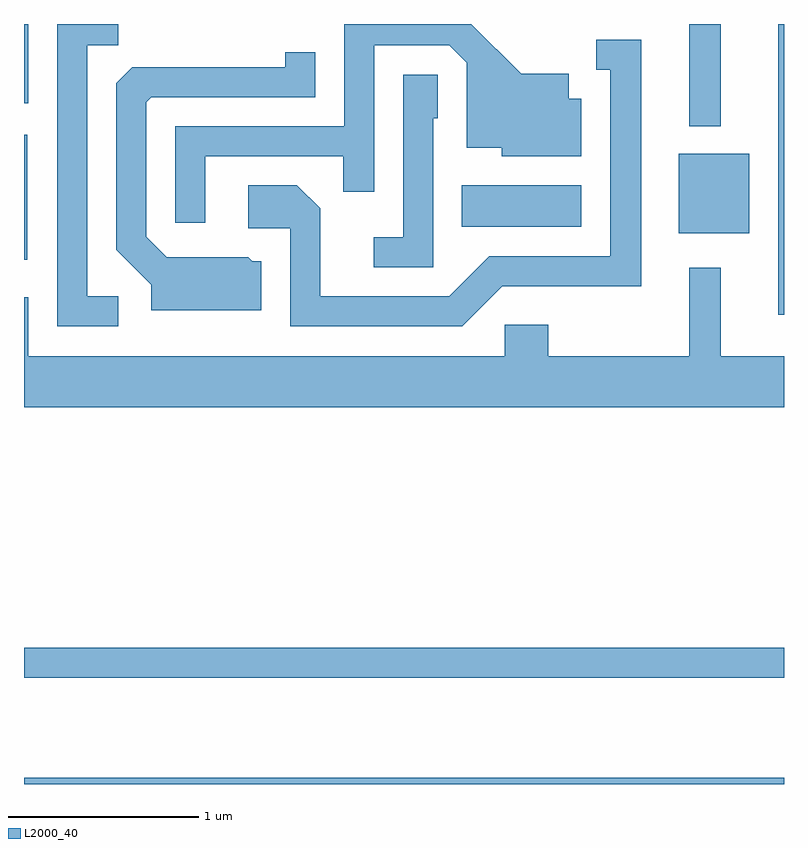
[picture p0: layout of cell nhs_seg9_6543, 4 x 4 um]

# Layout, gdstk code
import gdstk
lib = gdstk.Library(unit=1e-6, precision=1e-09)
def R(c, l, rs):  # rectangles x0, y0, x1, y1
    for r in rs: c.add(gdstk.rectangle(r[:2], r[2:], *l))
def P(c, l, *ps):  # polygons
    for p in ps: c.add(gdstk.Polygon(p, *l))
L2000_40 = (2000, 40)

nhs_seg9_6543 = lib.new_cell('nhs_seg9_6543')
R(nhs_seg9_6543, L2000_40, [(377.611,2056.432,381.611,2056.464), (377.611,2056.991,381.611,2057.149), (381.581,2058.903,381.611,2060.432), (377.611,2059.191,377.629,2059.849), (381.056,2059.331,381.429,2059.749), (379.916,2059.366,380.544,2059.584), (381.111,2059.893,381.279,2060.432), (377.611,2060.016,377.634,2060.432)])
P(nhs_seg9_6543, L2000_40, [(378.108,2058.999),(377.944,2058.999),(377.944,2060.321),(378.108,2060.321),(378.108,2060.432),(377.786,2060.432),(377.786,2058.841),(378.108,2058.841)],
  [(378.564,2059.736),(379.291,2059.736),(379.291,2059.548),(379.454,2059.548),(379.454,2060.321),(379.849,2060.321),(379.941,2060.229),(379.941,2059.781),(380.126,2059.781),(380.126,2059.736),(380.544,2059.736),(380.544,2060.039),(380.479,2060.039),(380.479,2060.169),(380.227,2060.169),(379.964,2060.432),(379.296,2060.432),(379.296,2059.894),(378.406,2059.894),(378.406,2059.387),(378.564,2059.387)],
  [(380.127,2059.051),(380.859,2059.051),(380.859,2060.349),(380.623,2060.349),(380.623,2060.191),(380.696,2060.191),(380.696,2059.209),(380.059,2059.209),(379.849,2058.999),(379.169,2058.999),(379.169,2059.462),(379.047,2059.584),(378.791,2059.584),(378.791,2059.356),(379.011,2059.356),(379.011,2058.841),(379.917,2058.841)],
  [(378.859,2059.184),(378.812,2059.184),(378.792,2059.204),(378.362,2059.204),(378.254,2059.312),(378.254,2060.019),(378.282,2060.046),(379.144,2060.046),(379.144,2060.283),(378.986,2060.283),(378.986,2060.204),(378.182,2060.204),(378.096,2060.119),(378.096,2059.244),(378.281,2059.059),(378.281,2058.926),(378.859,2058.926)],
  [(379.764,2059.936),(379.789,2059.936),(379.789,2060.164),(379.606,2060.164),(379.606,2059.309),(379.453,2059.309),(379.453,2059.151),(379.764,2059.151)],
  [(381.611,2058.684),(381.279,2058.684),(381.279,2059.148),(381.111,2059.148),(381.111,2058.684),(380.369,2058.684),(380.369,2058.849),(380.141,2058.849),(380.141,2058.684),(377.634,2058.684),(377.634,2058.994),(377.611,2058.994),(377.611,2058.416),(381.611,2058.416)])

lib.write_gds('nhs_seg9_6543.gds')
